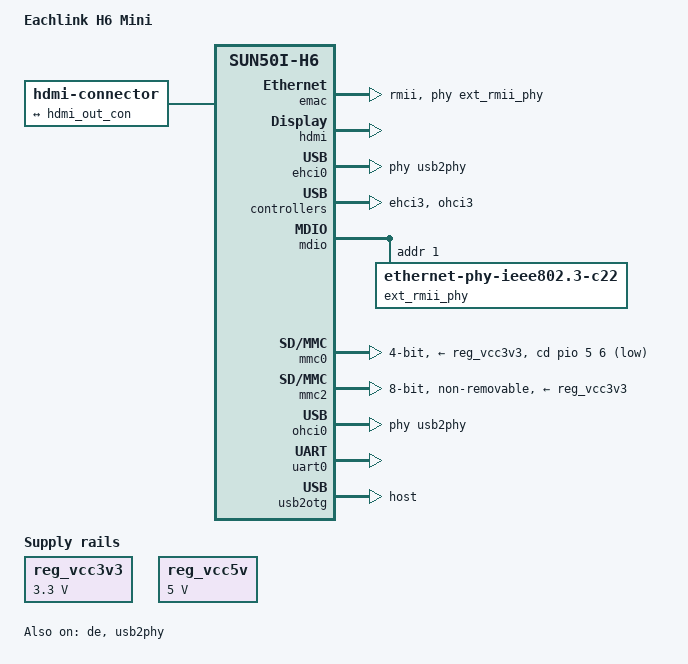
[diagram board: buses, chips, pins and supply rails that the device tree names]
// SPDX-License-Identifier: (GPL-2.0+ or MIT)
/*
 * Copyright (c) 2018 Arm Ltd.
 * based on work by:
 *   Copyright (c) 2017 Icenowy Zheng <icenowy@aosc.io>
 */

/dts-v1/;

#include "sun50i-h6.dtsi"

#include <dt-bindings/gpio/gpio.h>

/ {
	model = "Eachlink H6 Mini";
	compatible = "eachlink,h6-mini", "allwinner,sun50i-h6";

	aliases {
		ethernet0 = &emac;
		serial0 = &uart0;
	};

	chosen {
		stdout-path = "serial0:115200n8";
	};

	connector {
		compatible = "hdmi-connector";
		type = "a";

		port {
			hdmi_con_in: endpoint {
				remote-endpoint = <&hdmi_out_con>;
			};
		};
	};

	reg_vcc3v3: vcc3v3 {
		compatible = "regulator-fixed";
		regulator-name = "vcc3v3";
		regulator-min-microvolt = <3300000>;
		regulator-max-microvolt = <3300000>;
	};

	reg_vcc5v: vcc5v {
		/* board wide 5V supply directly from the DC jack */
		compatible = "regulator-fixed";
		regulator-name = "vcc-5v";
		regulator-min-microvolt = <5000000>;
		regulator-max-microvolt = <5000000>;
		regulator-always-on;
	};
};

&de {
	status = "okay";
};

&emac {
	phy-mode = "rmii";
	phy-handle = <&ext_rmii_phy>;
	status = "okay";
};

&hdmi {
	status = "okay";
};

&hdmi_out {
	hdmi_out_con: endpoint {
		remote-endpoint = <&hdmi_con_in>;
	};
};

&ehci0 {
	phys = <&usb2phy 0>;
	status = "okay";
};

&ehci3 {
	status = "okay";
};

&mdio {
	ext_rmii_phy: ethernet-phy@1 {
		compatible = "ethernet-phy-ieee802.3-c22";
		reg = <1>;
	};
};

&mmc0 {
	vmmc-supply = <&reg_vcc3v3>;
	cd-gpios = <&pio 5 6 GPIO_ACTIVE_LOW>;
	bus-width = <4>;
	status = "okay";
};

&mmc2 {
	vmmc-supply = <&reg_vcc3v3>;
	vqmmc-supply = <&reg_vcc3v3>;
	non-removable;
	cap-mmc-hw-reset;
	bus-width = <8>;
	status = "okay";
};

&ohci0 {
	phys = <&usb2phy 0>;
	status = "okay";
};

&ohci3 {
	status = "okay";
};

&uart0 {
	pinctrl-names = "default";
	pinctrl-0 = <&uart0_ph_pins>;
	status = "okay";
};

&usb2otg {
	dr_mode = "host";
	status = "okay";
};

&usb2phy {
	usb0_vbus-supply = <&reg_vcc5v>;
	status = "okay";
};
